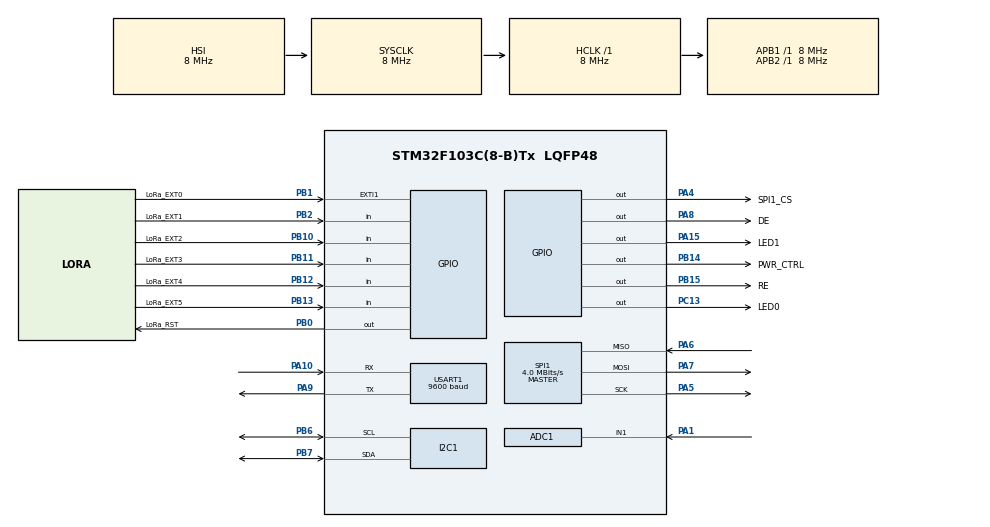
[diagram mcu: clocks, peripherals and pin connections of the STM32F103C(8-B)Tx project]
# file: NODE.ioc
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ADC1.Channel-0\#ChannelRegularConversion=ADC_CHANNEL_1
ADC1.ContinuousConvMode=DISABLE
ADC1.NbrOfConversion=1
ADC1.NbrOfConversionFlag=1
ADC1.Rank-0\#ChannelRegularConversion=1
ADC1.SamplingTime-0\#ChannelRegularConversion=ADC_SAMPLETIME_239CYCLES_5
ADC1.master=1
Mcu.Family=STM32F1
Mcu.Name=STM32F103C(8-B)Tx
Mcu.Package=LQFP48
NVIC.EXTI1_IRQn=true\:0\:0\:false\:false\:true\:true\:true\:true
NVIC.PriorityGroup=NVIC_PRIORITYGROUP_4
NVIC.RTC_IRQn=true\:0\:0\:false\:false\:true\:true\:true\:true
PA0-WKUP.Mode=SYS_WakeUp0
PA0-WKUP.Signal=SYS_WKUP
PA1.Signal=ADCx_IN1
PA10.Mode=Asynchronous
PA10.Signal=USART1_RX
PA13.Mode=Serial_Wire
PA13.Signal=SYS_JTMS-SWDIO
PA14.Mode=Serial_Wire
PA14.Signal=SYS_JTCK-SWCLK
PA15.GPIO_Label=LED1
PA15.GPIO_Speed=GPIO_SPEED_FREQ_LOW
PA15.Signal=GPIO_Output
PA4.GPIO_Label=SPI1_CS
PA4.GPIO_PuPd=GPIO_PULLUP
PA4.GPIO_Speed=GPIO_SPEED_FREQ_LOW
PA4.Signal=GPIO_Output
PA5.Mode=Full_Duplex_Master
PA5.Signal=SPI1_SCK
PA6.Mode=Full_Duplex_Master
PA6.Signal=SPI1_MISO
PA7.Mode=Full_Duplex_Master
PA7.Signal=SPI1_MOSI
PA8.GPIO_Label=DE
PA8.GPIO_PuPd=GPIO_PULLUP
PA8.GPIO_Speed=GPIO_SPEED_FREQ_HIGH
PA8.Signal=GPIO_Output
PA9.Mode=Asynchronous
PA9.Signal=USART1_TX
PB0.GPIO_Label=LoRa_RST
PB0.GPIO_PuPd=GPIO_NOPULL
PB0.GPIO_Speed=GPIO_SPEED_FREQ_LOW
PB0.Signal=GPIO_Output
PB1.GPIO_Label=LoRa_EXT0
PB1.GPIO_ModeDefaultEXTI=GPIO_MODE_IT_RISING
PB1.GPIO_PuPd=GPIO_PULLDOWN
PB1.Signal=GPXTI1
PB10.GPIO_Label=LoRa_EXT2
PB10.Signal=GPIO_Input
PB11.GPIO_Label=LoRa_EXT3
PB11.Signal=GPIO_Input
PB12.GPIO_Label=LoRa_EXT4
PB12.Signal=GPIO_Input
PB13.GPIO_Label=LoRa_EXT5
PB13.Signal=GPIO_Input
PB14.GPIO_Label=PWR_CTRL
PB14.GPIO_Speed=GPIO_SPEED_FREQ_MEDIUM
PB14.Signal=GPIO_Output
PB15.GPIO_Label=RE
PB15.GPIO_PuPd=GPIO_PULLUP
PB15.GPIO_Speed=GPIO_SPEED_FREQ_HIGH
PB15.Signal=GPIO_Output
PB2.GPIO_Label=LoRa_EXT1
PB2.Signal=GPIO_Input
PB6.Mode=I2C
PB6.Signal=I2C1_SCL
PB7.Mode=I2C
PB7.Signal=I2C1_SDA
PC13-TAMPER-RTC.GPIO_Label=LED0
PC13-TAMPER-RTC.GPIO_Speed=GPIO_SPEED_FREQ_LOW
PC13-TAMPER-RTC.Signal=GPIO_Output
ProjectManager.HeapSize=0x200
ProjectManager.StackSize=0x400
ProjectManager.TargetToolchain=Makefile
RCC.AHBFreq_Value=8000000
RCC.APB1Freq_Value=8000000
RCC.APB1TimFreq_Value=8000000
RCC.APB2Freq_Value=8000000
RCC.APB2TimFreq_Value=8000000
RCC.HCLKFreq_Value=8000000
RCC.HSE_VALUE=12000000
RCC.PLLMUL=RCC_PLL_MUL4
RCC.SYSCLKFreq_VALUE=8000000
RCC.USBFreq_Value=16000000
SH.ADCx_IN1.0=ADC1_IN1,IN1
SPI1.BaudRatePrescaler=SPI_BAUDRATEPRESCALER_2
SPI1.CalculateBaudRate=4.0 MBits/s
SPI1.Direction=SPI_DIRECTION_2LINES
SPI1.Mode=SPI_MODE_MASTER
SPI1.VirtualType=VM_MASTER
USART1.BaudRate=9600
USART1.VirtualMode=VM_ASYNC
VP_RTC_No_RTC_Output.Mode=RTC_OUT_NO
VP_RTC_VS_RTC_Activate.Mode=RTC_Enabled
VP_RTC_VS_RTC_Calendar.Mode=RTC_Calendar
board=custom

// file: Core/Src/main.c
/* USER CODE BEGIN Header */
/**
 ******************************************************************************
 * @file           : main.c
 * @brief          : Main program body
 ******************************************************************************
 * @attention
 *
 * Copyright (c) 2023 STMicroelectronics.
 * All rights reserved.
 *
 * This software is licensed under terms that can be found in the LICENSE file
 * in the root directory of this software component.
 * If no LICENSE file comes with this software, it is provided AS-IS.
 *
 ******************************************************************************
 */
/* USER CODE END Header */
#include "main.h"
#include "adc.h"
#include "i2c.h"
#include "rtc.h"
#include "spi.h"
#include "usart.h"
#include "gpio.h"

/* USER CODE BEGIN Includes */

#include "stdio.h"
#include "stdbool.h"
#include "stdlib.h"
#include "common.h"
#include "sx1278.h"
#include "string.h"
#include "flash.h"

/* USER CODE END Includes */

/* USER CODE BEGIN PTD */

typedef struct LoRa_Link_Struct
{
  uint16_t Node_ID;
  uint16_t Node_Status;
  uint16_t Node_Battery_Voltage;
  uint16_t Node_Period;
} Link_Struct_t;

typedef struct LoRa_Data_Struct
{
  Link_Struct_t Link;
  uint16_t Node_Soil_Temperature;
  uint16_t Node_Air_Temperature;
  uint16_t Node_Soil_Humidity;
  uint16_t Node_Air_Humidity;
  uint16_t Node_Salinity;
  uint16_t Node_Conductivity;
  uint16_t Node_pH;
  uint16_t Node_N;
  uint16_t Node_P;
  uint16_t Node_K;
} Data_Struct_t;

typedef struct LoRa_Packet_ID_0
{
  uint16_t Packet_ID;
  Link_Struct_t Payload;
} Link_Packet_t;

typedef struct LoRa_Packet_ID_1
{
  uint16_t Packet_ID;
  Data_Struct_t Payload;
} Data_Packet_t;

typedef struct LoRa_Packet_ID_2
{
  uint16_t Packet_ID;
  uint16_t Target_Node_ID;
  uint16_t Target_Node_Status;
  uint16_t Target_Node_Period;
  uint16_t Target_Node_Response;
} ResponsePacket_t;

typedef struct SoilData
{
  uint16_t rawTemperature;
  uint16_t rawHumidity;
  float Temperature;
  float Humidity;

  uint16_t Salinity;
  uint16_t Conductivity;

  uint16_t rawPH;
  float pH;

  uint16_t N;
  uint16_t P;
  uint16_t K;
} SoilData_t;

typedef enum NodeStatus
{
  WAKEUP_MODE = 1U,
  LINK_MODE = 2U,
  NORMAL_MODE = 4U,
  RETRY_MODE = 8U,
  SHUTDOWN_MODE = 16U
} NodeStatus_t;

/* USER CODE END PTD */

/* USER CODE BEGIN PD */

// #define NODE_ID                     (0x3112U)
#define NODE_ID                     (0x1104U)

#define TIMEOUT_MS                  (50U)
#define LINK_PACKET_ID              (0xAAAAU)
#define DATA_PACKET_ID              (0x5A5AU)
#define RESPONSE_PACKET_ID          (0x5555U)

#define SLEEPTIME_NORMAL_MODE_MIN   (3U)
#define SLEEPTIME_LINK_MODE_MIN     (1U)
#define SLEEPTIME_RETRY_MODE_SEC    (15U)

#define READ_SENSORS_DURATION_MS    (5000U)

#define WAIT_RESPONSE_DURATION_MS   (2000U)

#define NODE_WAKEUP_BIT_SHIFT       (0U)
#define NODE_WAKEUP_BIT             (1U << NODE_WAKEUP_BIT_SHIFT)
#define NODE_LINK_MODE_BIT_SHIFT    (1U)
#define NODE_LINK_MODE_BIT          (1U << NODE_LINK_MODE_BIT_SHIFT)
#define NODE_NORMAL_MODE_BIT_SHIFT  (2U)
#define NODE_NORMAL_MODE_BIT        (1U << NODE_NORMAL_MODE_BIT_SHIFT)
#define NODE_RETRY_MODE_BIT_SHIFT   (3U)
#define NODE_RETRY_MODE_BIT         (1U << NODE_RETRY_MODE_BIT_SHIFT)

#define NODE_SHUTDOWN_MODE_BIT_SHIFT   (4U)
#define NODE_SHUTDOWN_MODE_BIT         (1U << NODE_RETRY_MODE_BIT_SHIFT)

#define LINK_ACCEPT   (0xAAU)
#define LINK_REJECT   (0x55U)

#define LINK_CARRYON  (0x00U)
#define LINK_DISMISS  (0xFFU)

#define LINK_ACK      (0xABU)
#define LINK_NACK     (0xBAU)

#define SAVE_ADDR     (0x08013030U)

/* USER CODE END PD */

void SystemClock_Config(void);
/* USER CODE BEGIN PFP */

bool readSensor(void);

uint16_t CRC16(unsigned char *buf, int len);

void goingDark(void);
void sleep4ever(void);

void Link_Mode_Handle(void);
void Normal_Mode_Handle(void);
void Retry_Mode_Handle(void);

void Response_Handle(void);

/* USER CODE END PFP */

/* USER CODE BEGIN 0 */

static SoilData_t mySoil;
static NodeStatus_t myStatus;
static uint32_t backupStorage = 0U;
static uint8_t payload[100] = {0};
static volatile bool is_LoRa_EXTI = false;
static uint8_t array2store[32] = {0};

/* USER CODE END 0 */

int main(void)
{

  /* MCU Configuration--------------------------------------------------------*/

  /* Reset of all peripherals, Initializes the Flash interface and the Systick. */
  HAL_Init();

  /* Configure the system clock */
  SystemClock_Config();

  /* Initialize all configured peripherals */
  MX_GPIO_Init();
  MX_ADC1_Init();
  MX_I2C1_Init();
  MX_SPI1_Init();
  MX_USART1_UART_Init();
  MX_RTC_Init();
  /* USER CODE BEGIN 2 */

  HAL_GPIO_WritePin(LED0_GPIO_Port, LED0_Pin, GPIO_PIN_SET);
  HAL_GPIO_WritePin(LED1_GPIO_Port, LED1_Pin, GPIO_PIN_SET);

  myStatus = HAL_RTCEx_BKUPRead(&hrtc, RTC_BKP_DR2);

  // myStatus = LINK_MODE;

  if (myStatus == 0U)
  {
    HAL_RTCEx_BKUPWrite(&hrtc, RTC_BKP_DR3, SLEEPTIME_NORMAL_MODE_MIN * 60);
    myStatus = LINK_MODE;
    // HAL_Delay(20000);
  }

  if ((myStatus & LINK_MODE) != 0U)
  {
    Link_Mode_Handle();
  }
  else if ((myStatus & NORMAL_MODE) != 0U)
  {
    Normal_Mode_Handle();
  }
  else if ((myStatus & RETRY_MODE) != 0U)
  {
    Retry_Mode_Handle();
  }

  while (HAL_RTCEx_BKUPRead(&hrtc, RTC_BKP_DR2) != myStatus)  HAL_RTCEx_BKUPWrite(&hrtc, RTC_BKP_DR2, myStatus);

  if ((myStatus & SHUTDOWN_MODE) != 0U)
  {
    sleep4ever();
    while (1);
  }

  HAL_GPIO_TogglePin(LED1_GPIO_Port, LED1_Pin);
  HAL_GPIO_TogglePin(LED0_GPIO_Port, LED0_Pin);
  HAL_Delay(100);
  HAL_GPIO_TogglePin(LED1_GPIO_Port, LED1_Pin);
  HAL_GPIO_TogglePin(LED0_GPIO_Port, LED0_Pin);

  goingDark();

  /* USER CODE END 2 */

  /* Infinite loop */
  while (1)
  {

  }
}

void SystemClock_Config(void)
{
  RCC_OscInitTypeDef RCC_OscInitStruct = {0};
  RCC_ClkInitTypeDef RCC_ClkInitStruct = {0};
  RCC_PeriphCLKInitTypeDef PeriphClkInit = {0};

  /** Initializes the RCC Oscillators according to the specified parameters
  * in the RCC_OscInitTypeDef structure.
  */
  RCC_OscInitStruct.OscillatorType = RCC_OSCILLATORTYPE_HSI|RCC_OSCILLATORTYPE_LSI;
  RCC_OscInitStruct.HSIState = RCC_HSI_ON;
  RCC_OscInitStruct.HSICalibrationValue = RCC_HSICALIBRATION_DEFAULT;
  RCC_OscInitStruct.LSIState = RCC_LSI_ON;
  RCC_OscInitStruct.PLL.PLLState = RCC_PLL_NONE;
  if (HAL_RCC_OscConfig(&RCC_OscInitStruct) != HAL_OK)
  {
    Error_Handler();
  }

  /** Initializes the CPU, AHB and APB buses clocks
  */
  RCC_ClkInitStruct.ClockType = RCC_CLOCKTYPE_HCLK|RCC_CLOCKTYPE_SYSCLK
                              |RCC_CLOCKTYPE_PCLK1|RCC_CLOCKTYPE_PCLK2;
  RCC_ClkInitStruct.SYSCLKSource = RCC_SYSCLKSOURCE_HSI;
  RCC_ClkInitStruct.AHBCLKDivider = RCC_SYSCLK_DIV1;
  RCC_ClkInitStruct.APB1CLKDivider = RCC_HCLK_DIV1;
  RCC_ClkInitStruct.APB2CLKDivider = RCC_HCLK_DIV1;

  if (HAL_RCC_ClockConfig(&RCC_ClkInitStruct, FLASH_LATENCY_0) != HAL_OK)
  {
    Error_Handler();
  }
  PeriphClkInit.PeriphClockSelection = RCC_PERIPHCLK_RTC|RCC_PERIPHCLK_ADC;
  PeriphClkInit.RTCClockSelection = RCC_RTCCLKSOURCE_LSI;
  PeriphClkInit.AdcClockSelection = RCC_ADCPCLK2_DIV2;
  if (HAL_RCCEx_PeriphCLKConfig(&PeriphClkInit) != HAL_OK)
  {
    Error_Handler();
  }
}

/* USER CODE BEGIN 4 */

uint16_t CRC16(unsigned char *buf, int len)
{
  uint16_t crc = 0xFFFF;
  for (int pos = 0; pos < len; pos++)
  {
    // XOR byte into least sig. byte of crc
    crc ^= (unsigned int)buf[pos];

    for (int i = 8; i != 0; i--)
    {
      // Loop over each bit
      if ((crc & 0x0001) != 0)
      {
        // If the LSB is set => Shift right and XOR 0xA001
        crc >>= 1;
        crc ^= 0xA001;
      }
      else
      {
        // Else LSB is not set => Just shift right
        crc >>= 1;
      }
    }
  }

  return crc;
}

bool readSensor(void)
{
  static uint8_t txbuffer[10] = {0x01, 0x03, 0x00, 0x00, 0x00, 0x08, 0x44, 0x0C};
  static uint8_t rxbuffer[25];

  HAL_GPIO_WritePin(DE_GPIO_Port, DE_Pin, GPIO_PIN_SET);
  HAL_GPIO_WritePin(RE_GPIO_Port, RE_Pin, GPIO_PIN_SET);

  HAL_UART_Transmit(&huart1, txbuffer, 8, 10);

  HAL_GPIO_WritePin(DE_GPIO_Port, DE_Pin, GPIO_PIN_RESET);
  HAL_GPIO_WritePin(RE_GPIO_Port, RE_Pin, GPIO_PIN_RESET);

  HAL_UART_Receive(&huart1, rxbuffer, 21, 200);

  mySoil.rawTemperature = (uint16_t)((rxbuffer[3] << 8U) | (uint16_t)rxbuffer[4]);
  mySoil.Temperature = (float)((float)mySoil.rawTemperature / 10.0);
  mySoil.rawHumidity = (uint16_t)((rxbuffer[5] << 8U) | (uint16_t)rxbuffer[6]);
  mySoil.Humidity = (float)((float)mySoil.rawHumidity / 10.0);
  mySoil.Salinity = (uint16_t)((rxbuffer[7] << 8U) | (uint16_t)rxbuffer[8]);
  mySoil.Conductivity = (uint16_t)((rxbuffer[9] << 8U) | (uint16_t)rxbuffer[10]);
  mySoil.rawPH = (uint16_t)((rxbuffer[11] << 8U) | (uint16_t)rxbuffer[12]);
  mySoil.pH = (float)((float)mySoil.rawPH / 100.0);
  mySoil.N = (uint16_t)((rxbuffer[13] << 8U) | (uint16_t)rxbuffer[14]);
  mySoil.P = (uint16_t)((rxbuffer[15] << 8U) | (uint16_t)rxbuffer[16]);
  mySoil.K = (uint16_t)((rxbuffer[17] << 8U) | (uint16_t)rxbuffer[18]);

  uint16_t calculatedCRC = CRC16(rxbuffer, 19);

  if (((uint8_t)(calculatedCRC & 0x00FF) != (uint8_t)rxbuffer[19]) || ((uint8_t)((uint16_t)(calculatedCRC & 0xFF00) >> 8) != (uint8_t)rxbuffer[20]))
  {
    memset(&mySoil, '\0', sizeof(mySoil));
    return false;
  }

  memset(rxbuffer, '\0', sizeof(rxbuffer));
  return true;
}

void goingDark(void)
{
  /* Enable WUPIN PA0 */
  SET_BIT(PWR->CSR, PWR_CSR_EWUP);

  /* Set RTC Alarm for 300s */
  RTC_TimeTypeDef timeNow;
  RTC_AlarmTypeDef timeAlarm;
  HAL_RTC_GetTime(&hrtc, &timeNow, RTC_FORMAT_BCD);
  timeAlarm.Alarm = RTC_ALARM_A;
  timeAlarm.AlarmTime = timeNow;
  if (myStatus == NORMAL_MODE)
  {
    timeAlarm.AlarmTime.Seconds += HAL_RTCEx_BKUPRead(&hrtc, RTC_BKP_DR3);
  }
  else if (myStatus == LINK_MODE)
  {
    timeAlarm.AlarmTime.Minutes += SLEEPTIME_LINK_MODE_MIN;
  }
  else if (myStatus == RETRY_MODE)
  {
    timeAlarm.AlarmTime.Seconds += SLEEPTIME_RETRY_MODE_SEC;
  }
  __HAL_RTC_ALARM_CLEAR_FLAG(&hrtc, RTC_FLAG_ALRAF);
  HAL_RTC_SetAlarm_IT(&hrtc, &timeAlarm, RTC_FORMAT_BCD);

  /* Set SLEEPDEEP bit of Cortex System Control Register */
  SET_BIT(SCB->SCR, ((uint32_t)SCB_SCR_SLEEPDEEP_Msk));

  /* Select Standby mode */
  SET_BIT(PWR->CR, PWR_CR_PDDS);

  /* Clear WUF bit in Power Control/Status register */
  SET_BIT(PWR->CR, PWR_CR_CWUF);

  /* Clear SBF bit in Power Control/Status register */
  SET_BIT(PWR->CR, PWR_CR_CSBF);

  (void)PWR->CR;
  (void)PWR->CSR;

  // Disable debug, trace and IWDG in low-power modes
  DBGMCU->CR = (uint32_t)0x00;

  for (;;)
  {
    __DSB();
    __WFI();
  }
}

void sleep4ever(void)
{
  /* Enable WUPIN PA0 */
  SET_BIT(PWR->CSR, PWR_CSR_EWUP);

  __HAL_RTC_ALARM_CLEAR_FLAG(&hrtc, RTC_FLAG_ALRAF);

  /* Set SLEEPDEEP bit of Cortex System Control Register */
  SET_BIT(SCB->SCR, ((uint32_t)SCB_SCR_SLEEPDEEP_Msk));

  /* Select Standby mode */
  SET_BIT(PWR->CR, PWR_CR_PDDS);

  /* Clear WUF bit in Power Control/Status register */
  SET_BIT(PWR->CR, PWR_CR_CWUF);

  /* Clear SBF bit in Power Control/Status register */
  SET_BIT(PWR->CR, PWR_CR_CSBF);

  (void)PWR->CR;
  (void)PWR->CSR;

  // Disable debug, trace and IWDG in low-power modes
  DBGMCU->CR = (uint32_t)0x00;

  for (;;)
  {
    __DSB();
    __WFI();
  }
}

bool is_OK_2_Talk(void)
{
  sx1278_standby();
  uint32_t checkTimeout = HAL_GetTick();
  uint8_t irq = sx1278_read_reg(REG_IRQ_FLAGS);
  sx1278_write_reg(REG_IRQ_FLAGS, irq);     //reset irq
  is_LoRa_EXTI = false;
  sx1278_cad();
  while ((is_LoRa_EXTI == false) && ((HAL_GetTick() - checkTimeout) < TIMEOUT_MS));
  if (is_LoRa_EXTI == false)  return false;
  irq = sx1278_read_reg(REG_IRQ_FLAGS);
  sx1278_write_reg(REG_IRQ_FLAGS, irq);     //reset irq
  sx1278_standby();
  if (((irq & 0x01U) != 0U) && ((irq & 0x04U) != 0U))
  {
    return false;
  }
  else if (((irq & 0x01U) == 0U) && ((irq & 0x04U) != 0U))
  {
    return true;
  }
  return false;
}

void Link_Mode_Handle(void)
{
  HAL_ADC_Start(&hadc1);
  HAL_ADC_PollForConversion(&hadc1, 200);
  backupStorage = HAL_ADC_GetValue(&hadc1);
  HAL_RTCEx_BKUPWrite(&hrtc, RTC_BKP_DR1, backupStorage);
  HAL_ADC_Stop(&hadc1);
  HAL_ADC_DeInit(&hadc1);

  HAL_I2C_DeInit(&hi2c1);
  HAL_UART_DeInit(&huart1);

  HAL_GPIO_WritePin(LED0_GPIO_Port, LED0_Pin, GPIO_PIN_RESET);

  sx1278_init();

  Link_Packet_t LinkReq;
  LinkReq.Packet_ID = LINK_PACKET_ID;
  LinkReq.Payload.Node_ID = NODE_ID;
  LinkReq.Payload.Node_Status = myStatus;
  LinkReq.Payload.Node_Battery_Voltage = (uint16_t)((double)backupStorage  * 2847.868f  * 3.3f / 4095.0f) - 70U;
  LinkReq.Payload.Node_Period = (uint16_t)(HAL_RTCEx_BKUPRead(&hrtc, RTC_BKP_DR3));
  memcpy((uint8_t*)&payload, (uint8_t*)&LinkReq, sizeof(Link_Packet_t));

  uint8_t nTry = 0;
  while ((is_OK_2_Talk() == false) && (nTry < 10))
  {
    nTry++;
    HAL_Delay(TIMEOUT_MS);
  }
  if (nTry == 10)
  {
    myStatus = LINK_MODE;
    return;
  }

  sx1278_send_data((uint8_t *)&payload, sizeof(Link_Packet_t));

  Response_Handle();

  sx1278_sleep();
  HAL_SPI_DeInit(&hspi1);

  HAL_GPIO_WritePin(LED0_GPIO_Port, LED0_Pin, GPIO_PIN_SET);
}

void Normal_Mode_Handle(void)
{
  HAL_ADC_Start(&hadc1);
  HAL_ADC_PollForConversion(&hadc1, 200);
  backupStorage = HAL_ADC_GetValue(&hadc1);
  HAL_RTCEx_BKUPWrite(&hrtc, RTC_BKP_DR1, backupStorage);
  HAL_ADC_Stop(&hadc1);
  HAL_ADC_DeInit(&hadc1);

  HAL_GPIO_WritePin(LED0_GPIO_Port, LED0_Pin, GPIO_PIN_RESET);
  HAL_GPIO_WritePin(PWR_CTRL_GPIO_Port, PWR_CTRL_Pin, GPIO_PIN_SET);
  HAL_GPIO_WritePin(LED1_GPIO_Port, LED1_Pin, GPIO_PIN_RESET);

  HAL_Delay(READ_SENSORS_DURATION_MS);
  readSensor();

  HAL_GPIO_WritePin(PWR_CTRL_GPIO_Port, PWR_CTRL_Pin, GPIO_PIN_RESET);
  HAL_GPIO_WritePin(LED1_GPIO_Port, LED1_Pin, GPIO_PIN_SET);
  HAL_I2C_DeInit(&hi2c1);
  HAL_UART_DeInit(&huart1);

  sx1278_init();

  Data_Packet_t data_packet;
  data_packet.Packet_ID = DATA_PACKET_ID;
  data_packet.Payload.Link.Node_ID = NODE_ID;
  data_packet.Payload.Link.Node_Status = myStatus;
  data_packet.Payload.Link.Node_Battery_Voltage = (uint16_t)((double)backupStorage  * 2847.868f  * 3.38f / 4095.0f) - 70U;
  data_packet.Payload.Link.Node_Period = (uint16_t)(HAL_RTCEx_BKUPRead(&hrtc, RTC_BKP_DR3));
  data_packet.Payload.Node_Soil_Temperature = mySoil.rawTemperature;
  data_packet.Payload.Node_Air_Temperature = get_random_value(HAL_GetTick(), 260, 275);
  data_packet.Payload.Node_Soil_Humidity = mySoil.rawHumidity;
  data_packet.Payload.Node_Air_Humidity = get_random_value(HAL_GetTick(), 650, 750);
  data_packet.Payload.Node_Salinity = mySoil.Salinity;
  data_packet.Payload.Node_Conductivity = mySoil.Conductivity;
  data_packet.Payload.Node_pH = get_random_value(HAL_GetTick(), 65, 75);
  data_packet.Payload.Node_N = mySoil.N;
  data_packet.Payload.Node_P = mySoil.P;
  data_packet.Payload.Node_K = mySoil.K;
  memset(payload, '\0', sizeof(payload));
  memcpy((uint8_t *)payload, (uint8_t *)&data_packet, sizeof(Data_Packet_t));

  uint8_t nTry = 0;
  while ((is_OK_2_Talk() == false) && (nTry < 10))
  {
    nTry++;
    HAL_Delay(TIMEOUT_MS);
  }
  if (nTry == 10)
  {
    myStatus = RETRY_MODE;
    HAL_GPIO_WritePin(LED0_GPIO_Port, LED0_Pin, GPIO_PIN_SET);
    return;
  }

  sx1278_send_data(payload, sizeof(Data_Packet_t));

  Response_Handle();

  if (myStatus == RETRY_MODE)
  {
    memset(array2store, '\0', sizeof(array2store));
    memcpy((uint8_t *)&array2store, (uint8_t *)&data_packet, sizeof(Data_Packet_t));
    Flash_Write_Data(SAVE_ADDR, (uint32_t*)&array2store, 8U);
  }

  sx1278_sleep();
  HAL_SPI_DeInit(&hspi1);

  HAL_GPIO_WritePin(LED0_GPIO_Port, LED0_Pin, GPIO_PIN_SET);
}

void Retry_Mode_Handle(void)
{
  HAL_ADC_DeInit(&hadc1);
  HAL_I2C_DeInit(&hi2c1);
  HAL_UART_DeInit(&huart1);
  HAL_GPIO_WritePin(LED0_GPIO_Port, LED0_Pin, GPIO_PIN_RESET);

  sx1278_init();
  Flash_Read_Data(SAVE_ADDR, (uint32_t *)&array2store, sizeof(array2store));
  memcpy((uint8_t *)payload, (uint8_t *)&array2store, sizeof(Data_Packet_t));

  uint8_t nTry = 0;
  while ((is_OK_2_Talk() == false) && (nTry < 10))
  {
    nTry++;
    HAL_Delay(TIMEOUT_MS);
  }
  if (nTry == 10)
  {
    myStatus = RETRY_MODE;
    HAL_GPIO_WritePin(LED0_GPIO_Port, LED0_Pin, GPIO_PIN_SET);
    return;
  }

  sx1278_send_data(payload, sizeof(Data_Packet_t));

  Response_Handle();

  sx1278_sleep();
  HAL_SPI_DeInit(&hspi1);

  HAL_GPIO_WritePin(LED0_GPIO_Port, LED0_Pin, GPIO_PIN_SET);
}

void Response_Handle(void)
{
  static ResponsePacket_t resp;
  static uint8_t data[100] = {0};
  static uint32_t nByteRx = 0;
  static int rssi = -1;
  static float snr = -1;

  is_LoRa_EXTI = false;
  sx1278_start_recv_data();

  uint32_t timeOut = HAL_GetTick();
  while ((HAL_GetTick() - timeOut) < 5000U)
  {
    if (is_LoRa_EXTI == true)
    {
      if (sx1278_recv_data((uint8_t *)data, &nByteRx, &rssi, &snr, false) == SX1278_OK)
      {
        if (nByteRx == sizeof(ResponsePacket_t))  memcpy(&resp, &data, sizeof(ResponsePacket_t));
        else
        {
          is_LoRa_EXTI = false;
          sx1278_set_irq(0x00);
          sx1278_write_reg(REG_IRQ_FLAGS, sx1278_read_reg(REG_IRQ_FLAGS));
          continue;
        }

        if ((resp.Packet_ID != RESPONSE_PACKET_ID) || (resp.Target_Node_ID != NODE_ID))
        {
          // this is not what I want OR this is not for me
          is_LoRa_EXTI = false;
          sx1278_start_recv_data();
          continue;
        }
        else
        {
          // Yep ok this is my packet and ID
          if (myStatus == LINK_MODE)
          {
            if ((resp.Target_Node_Response & 0x00FF) != LINK_ACK) {myStatus = LINK_MODE; return;}
            if      (((resp.Target_Node_Response >> 8) & 0x00FF) == LINK_ACCEPT)    myStatus = NORMAL_MODE;
            else if (((resp.Target_Node_Response >> 8) & 0x00FF) == LINK_REJECT)    myStatus = (uint8_t)resp.Target_Node_Status;
          }
          else if (myStatus == NORMAL_MODE)
          {
            if ((resp.Target_Node_Response & 0x00FF) != LINK_ACK) {myStatus = RETRY_MODE; return;}
            if      (((resp.Target_Node_Response >> 8) & 0x00FF) == LINK_CARRYON)   myStatus = NORMAL_MODE;
            else if (((resp.Target_Node_Response >> 8) & 0x00FF) == LINK_DISMISS)   myStatus = LINK_MODE;
          }
          else if (myStatus == RETRY_MODE)
          {
            if      ((resp.Target_Node_Response & 0x00FF) != LINK_ACK) {myStatus = RETRY_MODE;  return;}
            else if ((resp.Target_Node_Response & 0x00FF) == LINK_ACK) {myStatus = NORMAL_MODE;}
            if      (((resp.Target_Node_Response >> 8) & 0x00FF) == LINK_CARRYON)   myStatus = NORMAL_MODE;
            else if (((resp.Target_Node_Response >> 8) & 0x00FF) == LINK_DISMISS)   myStatus = LINK_MODE;
          }
          HAL_RTCEx_BKUPWrite(&hrtc, RTC_BKP_DR3, resp.Target_Node_Period);
          return;
        }
      }
      else
      {
        is_LoRa_EXTI = false;
        sx1278_set_irq(0x00);
        sx1278_write_reg(REG_IRQ_FLAGS, sx1278_read_reg(REG_IRQ_FLAGS));
        continue;
      }
    }
  }

  if (myStatus == LINK_MODE)
  {
    myStatus = LINK_MODE;
  }
  else if (myStatus == NORMAL_MODE)
  {
    myStatus = RETRY_MODE;
  }
  else if (myStatus == RETRY_MODE)
  {
    myStatus = RETRY_MODE;
  }
}

void HAL_GPIO_EXTI_Callback(uint16_t GPIO_Pin)
{
  if ((GPIO_Pin == LoRa_EXT0_Pin) && (HAL_GPIO_ReadPin(LoRa_EXT0_GPIO_Port, LoRa_EXT0_Pin) == GPIO_PIN_SET) && (is_LoRa_EXTI == false))
  {
    is_LoRa_EXTI = true;
  }
}

/* USER CODE END 4 */

void Error_Handler(void)
{
  __disable_irq();
  while (1)
  {
  }
}
